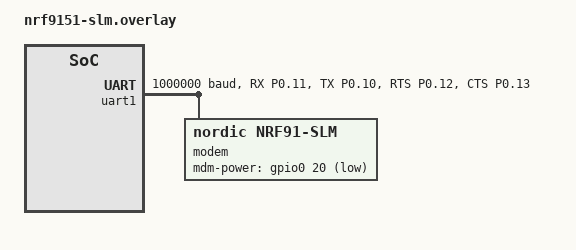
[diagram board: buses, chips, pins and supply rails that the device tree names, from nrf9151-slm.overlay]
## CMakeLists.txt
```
#
# Copyright (c) 2025 Nordic Semiconductor
#
# SPDX-License-Identifier: LicenseRef-Nordic-5-Clause
#

cmake_minimum_required(VERSION 3.20.0)

find_package(Zephyr REQUIRED HINTS $ENV{ZEPHYR_BASE})
project(dect_shell_mdm_mac)
# To get the app name to cloud
zephyr_compile_definitions(PROJECT_NAME=${PROJECT_NAME})

target_include_directories(app PRIVATE src)

target_sources(app PRIVATE src/main.c)
target_sources(app PRIVATE src/shell.c)

add_subdirectory(src/print)
add_subdirectory(src/utils)
add_subdirectory_ifdef(CONFIG_DESH_NATIVE_TLS src/native_tls)
add_subdirectory_ifdef(CONFIG_DESH_L2_SHELL src/l2_shell)
add_subdirectory_ifdef(CONFIG_DESH_DECT_ICMP_PING src/ping)
add_subdirectory(src/at)
add_subdirectory(src/cloud)
add_subdirectory_ifdef(CONFIG_NET_HOSTNAME_DYNAMIC src/hostname)
add_subdirectory(src/auto_connect)

if (CONFIG_NRF_CLOUD_MQTT OR CONFIG_NRF_CLOUD_REST)
        # Make folder containing certificates global so that it can be located by the configured
        # cloud library.
        zephyr_include_directories(src/nrf_cloud_certs_mqtt)
endif()
if (CONFIG_NRF_CLOUD_COAP)
        # Make folder containing certificates global so that it can be located by the configured
        # cloud library.
        zephyr_include_directories(src/nrf_cloud_certs_coap)
endif()
```

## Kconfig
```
#
# Copyright (c) 2025 Nordic Semiconductor ASA
#
# SPDX-License-Identifier: LicenseRef-Nordic-5-Clause
#

source "Kconfig.zephyr"

menu "Nordic Dect NR+ Phy Shell config"

config DESH_PRINT_BUFFER_SIZE
	int "Buffer size used when printing shell output"
	default 1024
	help
	  If the printed string exceeds this buffer, an error message is printed first and
	  then the requested string cut into the length of this buffer.

config DESH_COMMON_WORKQUEUE_STACK_SIZE
	int "Stack size for the common work queue"
	default 3072

config DESH_DECT_ICMP_PING
	bool "ICMP ping support"
	default y
	depends on NET_SOCKETS_INET_RAW
	help
	  Enable support for ICMP ping.

config DESH_IPERF3
	bool "iPerf3"
	default n
	select NRF_IPERF3

config DESH_CLOUD_MQTT
	bool "MQTT connection to nRF Cloud"
	depends on  NRF_CLOUD_MQTT
	help
	  MQTT connection to nRF Cloud.

config DESH_CLOUD_COAP
	bool "COAP connection to nRF Cloud"
	depends on  NRF_CLOUD_COAP
	help
	  COAP connection to nRF Cloud.

config DESH_CLOUD_REST
	bool "REST connection to nRF Cloud"
	depends on  NRF_CLOUD_REST
	help
	  REST connection to nRF Cloud. Note: ipv6 not supported by nrf cloud on REST

config DESH_AT_CMD_MODE
	bool "Specific AT command mode"
	default y

if DESH_AT_CMD_MODE
choice
	prompt "Command termination"
	default DESH_AT_CMD_MODE_CR_LF_TERMINATION
	help
		Sets the command termination ending from the serial terminal
		Levels are:
		-  NULL Termination
		-  CR Termination
		-  LF Termination
		-  CR+LF Termination
	config DESH_AT_CMD_MODE_NULL_TERMINATION
		bool "NULL Termination"
	config DESH_AT_CMD_MODE_CR_TERMINATION
		bool "CR Termination"
	config DESH_AT_CMD_MODE_LF_TERMINATION
		bool "LF Termination"
	config DESH_AT_CMD_MODE_CR_LF_TERMINATION
		bool "CR+LF Termination"
endchoice
config DESH_AT_CMD_MODE_TERMINATION
	int
	default 0 if DESH_AT_CMD_MODE_NULL_TERMINATION
	default 1 if DESH_AT_CMD_MODE_CR_TERMINATION
	default 2 if DESH_AT_CMD_MODE_LF_TERMINATION
	default 3 if DESH_AT_CMD_MODE_CR_LF_TERMINATION
endif

config DESH_L2_SHELL
	bool "DECT NR+ Shell for nRF91 Modem MAC"
	depends on NET_MGMT
	depends on NET_MGMT_EVENT
	depends on NET_MGMT_EVENT_INFO
	depends on NET_L2_DECT_MGMT
	depends on GETOPT_LIB
	depends on DECT_NRP_LIB
	default y
	help
	  Enable support for DECT NR+ Net Management interface.

# START OF INTERNAL CHANGE. DO NOT COMMIT TO NCS MASTER.
config DESH_FIDO_TRACE
	bool "Enable FIDO tracing"
	default y
# END OF INTERNAL CHANGE

rsource "src/native_tls/Kconfig"

endmenu
```

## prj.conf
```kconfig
# Modem library
CONFIG_NRF_MODEM_LIB=y
CONFIG_NRF_MODEM_LINK_BINARY_DECT_MAC=y
CONFIG_NRF_MODEM_VARIANT_DECT_MAC=y
CONFIG_NRF_MODEM_LIB_ON_FAULT_APPLICATION_SPECIFIC=y
CONFIG_NRF_MODEM_LIB_SHMEM_RX_SIZE=6144
CONFIG_NRF_MODEM_LIB_SHMEM_TX_SIZE=12288

# Force default trace level to default (coredump_only)
# CONFIG_NRF_MODEM_LIB_TRACE_LEVEL_COREDUMP_ONLY=y
CONFIG_NRF_MODEM_LIB_CFUN_HOOKS=n

# Fido as a default
CONFIG_NRF_MODEM_LIB_TRACE=n

# Disable fidoless default log level override
#CONFIG_NRF_MODEM_LIB_TRACE_LEVEL_OVERRIDE=n

#CONFIG_NRF_MODEM_LIB_SYS_INIT=n
#CONFIG_NRF_MODEM_LOG=y
#CONFIG_NRF_MODEM_LIB_LOG_LEVEL_DBG=y
#CONFIG_LOG_MODE_IMMEDIATE=y

CONFIG_NET_CONNECTION_MANAGER=y

# Conn mgr auto connect not supported, desh is having its own and
# we want that net_if_up() is done in stack to get cluster_start/nw_create also working
CONFIG_DECT_NRP_MAC_NET_IF_NO_AUTO_START=n

# DECT NR+
CONFIG_DECT_NRP_MAC=y
CONFIG_DECT_NRP_MAC_DRIVER_NRF=y

#CONFIG_DECT_NRP_MAC_NET_IF_NO_AUTO_START=y

# Disable auto antenna config
CONFIG_MODEM_ANTENNA=n

#To bypass error print from Modem Antenna Lib because dect mfw does not support this
CONFIG_MODEM_ANTENNA_AT_COEX0=""

# For getting modem fw version and hw version
CONFIG_MODEM_INFO=y
CONFIG_MODEM_INFO_ADD_NETWORK=n
CONFIG_MODEM_INFO_ADD_SIM=n

# Zephyr networking
CONFIG_NETWORKING=y
CONFIG_NET_NATIVE=y
CONFIG_NET_STATISTICS=y

CONFIG_NET_IPV4=n
CONFIG_NET_IPV6=y
# Disable IP address validation checks for performance
CONFIG_NET_IP_ADDR_CHECK=n

# Required for getting OFFLOADED_NETDEV for dect nrf91 driver
#CONFIG_NET_OFFLOAD=y

CONFIG_NET_MGMT=y
CONFIG_NET_MGMT_EVENT=y
CONFIG_NET_MGMT_EVENT_INFO=y
CONFIG_NET_MGMT_EVENT_INFO_DEFAULT_DATA_SIZE=208

CONFIG_NET_L2_DECT_MGMT=y
CONFIG_NET_L2_DUMMY=n
CONFIG_NET_CONTEXT_SNDTIMEO=y
CONFIG_NET_CONTEXT_RCVTIMEO=y

CONFIG_NET_INTERFACE_NAME=y
CONFIG_NET_INTERFACE_NAME_LEN=15

CONFIG_NET_MGMT_EVENT_STACK_SIZE=2048
CONFIG_NET_MGMT_EVENT_QUEUE_SIZE=10
CONFIG_NET_MGMT_EVENT_QUEUE_TIMEOUT=5000

CONFIG_NET_IF_MAX_IPV6_COUNT=2

CONFIG_NET_SOCKETS=y

#For sending raw packets
CONFIG_NET_SOCKETS_PACKET=y
CONFIG_NET_SOCKETS_PACKET_DGRAM=y
CONFIG_NET_SOCKETS_INET_RAW=y
CONFIG_NET_SOCKETS_OFFLOAD=n
CONFIG_NET_TX_STACK_SIZE=2048
CONFIG_NET_RX_STACK_SIZE=2048

# Network buffers
CONFIG_NET_BUF=y
CONFIG_NET_BUF_DATA_SIZE=128
CONFIG_NET_BUF_POOL_USAGE=y

CONFIG_NET_PKT_RX_COUNT=15
CONFIG_NET_BUF_RX_COUNT=30

CONFIG_NET_PKT_TX_COUNT=15
CONFIG_NET_BUF_TX_COUNT=30

CONFIG_NET_TC_RX_COUNT=0

CONFIG_NET_MGMT_EVENT_LOG_LEVEL_INF=y
CONFIG_NET_IPV6_NBR_CACHE=y
CONFIG_NET_IPV6_ND=y

CONFIG_DECT_NRP_MAC_CLUSTER_MAX_CHILD_ASSOCIATION_COUNT=50
CONFIG_NET_IPV6_MAX_NEIGHBORS=50

# Disable certain parts of Zephyr IPv6 stack (commented out - using defaults)
#CONFIG_NET_IPV6_ND=n
#CONFIG_NET_IPV6_DAD=n
#CONFIG_NET_IPV6_NBR_CACHE=n
#CONFIG_NET_IPV6_MLD=n
#CONFIG_NET_IPV6_FRAGMENT=n

CONFIG_DNS_RESOLVER=y
CONFIG_DNS_RESOLVER_AUTO_INIT=y
CONFIG_DNS_RESOLVER_CACHE=y
CONFIG_DNS_SERVER_IP_ADDRESSES=y
#CONFIG_DNS_RESOLVER_MAX_SERVERS=6

CONFIG_DNS_SERVER1="2001:4860:4860::8888"
CONFIG_NET_SOCKETS_DNS_TIMEOUT=8000
#CONFIG_DNS_NUM_CONCUR_QUERIES=5
#CONFIG_DNS_RESOLVER_ADDITIONAL_BUF_CTR=2
#CONFIG_DNS_RESOLVER_ADDITIONAL_QUERIES=2

# Enable mDNS support
CONFIG_MDNS_RESOLVER=y

# (M)DNS
CONFIG_NET_SOCKETS_POLL_MAX=10
CONFIG_MDNS_RESPONDER=y
CONFIG_DNS_SD=y # TODO: advertise services
CONFIG_MDNS_RESPONDER_DNS_SD=y
CONFIG_NET_HOSTNAME_ENABLE=y
# Hostname can be set by using command hostname
CONFIG_NET_HOSTNAME="dect-nr+-device"
CONFIG_NET_HOSTNAME_DYNAMIC=y
CONFIG_NET_HOSTNAME_UNIQUE=n

# Disable POSIX uname support to suppress build warning that hostname is too long.
#CONFIG_POSIX_UNAME=n

# Need bigger stack to send responses
CONFIG_NET_SOCKETS_SERVICE_STACK_SIZE=4096

CONFIG_SYSTEM_WORKQUEUE_STACK_SIZE=3072

#CONFIG_NET_ROUTE_MCAST=y
#CONFIG_NET_MCAST_ROUTE_MLD_REPORTS=y

# Disable MBEDTLS and IPv4 by default (TLS can be enabled via overlays if needed)
CONFIG_NET_IPV4=n
CONFIG_MBEDTLS=n
CONFIG_NORDIC_SECURITY_BACKEND=n
CONFIG_MBEDTLS_TLS_VERSION_1_2=n
CONFIG_NET_SOCKETS_SOCKOPT_TLS=n

# Shell configurations
CONFIG_SHELL=y

CONFIG_NET_SHELL=y
CONFIG_NET_STATISTICS_USER_API=y

CONFIG_SHELL_WILDCARD=n
CONFIG_SHELL_PROMPT_UART="desh:~$ "
CONFIG_SHELL_ARGC_MAX=40
# -h and --help options are handled in Dect Shell
CONFIG_SHELL_HELP_OPT_PARSE=n

# Command line buffer is set this large to enable writing of certificates by using at commands
CONFIG_SHELL_CMD_BUFF_SIZE=4096

CONFIG_MAIN_STACK_SIZE=4096
CONFIG_SHELL_STACK_SIZE=9216

# Shell RX buffer needs to be increased to avoid problems with test automation
CONFIG_SHELL_BACKEND_SERIAL_RX_RING_BUFFER_SIZE=512
# Use interrupt driven shell UART, otherwise we won't be able to suspend the UART
CONFIG_SHELL_BACKEND_SERIAL_API_INTERRUPT_DRIVEN=y

# Enable use of vsnprintfcb() for extending desh_print() format
CONFIG_CBPRINTF_LIBC_SUBSTS=y

# we keep newlib still for dev time because no mallinfo() support in zephyr
# see mosh commit: https://github.com/nrfconnect/sdk-nrf/commit/b3e117f2260be747938b8578ac525ff0f9d44884
CONFIG_MINIMAL_LIBC=n
CONFIG_NEWLIB_LIBC=y
CONFIG_NEWLIB_LIBC_FLOAT_SCANF=y
CONFIG_NEWLIB_LIBC_FLOAT_PRINTF=y
CONFIG_FPU=y
#CONFIG_CJSON_LIB=y

# freebsd-getopt
CONFIG_GETOPT_LIB=y
CONFIG_POSIX_API=y
# Need to disable devmem shell since it enforces Zephyr's internal version of getopt
CONFIG_DEVMEM_SHELL=n

CONFIG_DK_LIBRARY=y

CONFIG_AT_MONITOR=y
CONFIG_AT_PARSER=y

CONFIG_ISR_STACK_SIZE=1024
CONFIG_HEAP_MEM_POOL_SIZE=25600
CONFIG_AT_MONITOR_HEAP_SIZE=512

# Settings
CONFIG_FLASH=y
CONFIG_FLASH_MAP=y
CONFIG_MPU_ALLOW_FLASH_WRITE=y
CONFIG_NVS=y
CONFIG_SETTINGS=y
CONFIG_SETTINGS_NVS=y
CONFIG_NVS_LOG_LEVEL_WRN=y

# Kernel options
CONFIG_ENTROPY_GENERATOR=y
#CONFIG_REBOOT=y

# Debugging configurations
CONFIG_ASSERT=y
CONFIG_LOG=y

# Keep printk() synchronous
CONFIG_PRINTK=y
CONFIG_LOG_PRINTK=n

CONFIG_DEBUG_INFO=y
#CONFIG_DEBUG_OPTIMIZATIONS=y
#CONFIG_NO_OPTIMIZATIONS=y
#CONFIG_FORCE_NO_ASSERT=y
CONFIG_ASSERT_VERBOSE=y
#CONFIG_ASSERT_LEVEL=2
#CONFIG_ASSERT_ON_ERRORS=y
#CONFIG_FAULT_DUMP=2
CONFIG_RESET_ON_FATAL_ERROR=n
CONFIG_EXTRA_EXCEPTION_INFO=y
#CONFIG_WATCHDOG=y
CONFIG_SYS_HEAP_RUNTIME_STATS=y

# Enable TF-M logging on UART0
CONFIG_TFM_SECURE_UART0=y
CONFIG_TFM_LOG_LEVEL_SILENCE=n
CONFIG_TFM_EXCEPTION_INFO_DUMP=y
CONFIG_TFM_SPM_LOG_LEVEL_DEBUG=y

CONFIG_NET_LOG=y
#CONFIG_DNS_SOCKET_DISPATCHER_LOG_LEVEL_DBG=y
#CONFIG_DNS_RESOLVER_LOG_LEVEL_DBG=y
#CONFIG_NET_LOG=y
#CONFIG_MDNS_RESPONDER_LOG_LEVEL_DBG=y
#CONFIG_DNS_SOCKET_DISPATCHER_LOG_LEVEL_DBG=y
#CONFIG_NET_PKT_LOG_LEVEL_DBG=y
CONFIG_DECT_NRP_MAC_LOG_LEVEL_WRN=y
CONFIG_NET_L2_DECT_LOG_LEVEL_WRN=y
CONFIG_NET_L2_DECT_MGMT_LOG_LEVEL_WRN=y
CONFIG_NET_L2_DECT_BR_LOG_LEVEL_INF=y
CONFIG_NET_L2_DECT_CONN_MGR_LOG_LEVEL_INF=y
#CONFIG_NRF_MODEM_LOG=y
#CONFIG_NRF_MODEM_LIB_LOG_LEVEL_DBG=y
#CONFIG_LOG_MODE_IMMEDIATE=y
#CONFIG_NET_CORE_LOG_LEVEL_DBG=y
#CONFIG_NET_CONTEXT_LOG_LEVEL_DBG=y
#CONFIG_NET_IF_LOG_LEVEL_DBG=y
#CONFIG_NET_IPV6_ND_LOG_LEVEL_DBG=y
#CONFIG_NET_CONN_LOG_LEVEL_DBG=y
#CONFIG_NET_IPV6_LOG_LEVEL_DBG=y
#CONFIG_NET_ICMPV6_LOG_LEVEL_DBG=y
#CONFIG_NET_BUF_POOL_USAGE=y
#CONFIG_NET_DEBUG_NET_PKT_ALLOC=y
#CONFIG_NET_IPV6_ND_LOG_LEVEL_DBG=y
#CONFIG_NET_IPV6_NBR_CACHE_LOG_LEVEL_DBG=y
```

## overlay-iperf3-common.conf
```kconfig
#1st, disable all unneeded
CONFIG_MDNS_RESOLVER=n
CONFIG_MDNS_RESPONDER=n
CONFIG_MDNS_RESPONDER_DNS_SD=n
#CONFIG_DNS_SD=n #TODO: addvertise services
#CONFIG_MDNS_RESPONDER_DNS_SD=n
CONFIG_NET_SOCKETS_SERVICE_STACK_SIZE=1024

#We are not using kernel heap with iperf3
CONFIG_HEAP_MEM_POOL_SIZE=1024

#not writing certs with this image
CONFIG_SHELL_CMD_BUFF_SIZE=512
CONFIG_DESH_NATIVE_TLS=n
CONFIG_DESH_AT_CMD_MODE=n

#Not testing with many children
CONFIG_DECT_NRP_MAC_CLUSTER_MAX_CHILD_ASSOCIATION_COUNT=5
CONFIG_NET_IPV6_MAX_NEIGHBORS=5

CONFIG_DECT_NRP_MAC_NRF_TX_FLOW_CTRL_BASED_ON_MDM_TX_DLC_REQS=y
# We need to enable ipv4 for iperf3 server
CONFIG_NET_IPV4=y

# Disable IP address validation checks for performance
CONFIG_NET_IP_ADDR_CHECK=n

#########
CONFIG_POSIX_API=y
CONFIG_ZVFS_OPEN_MAX=15
# Need to be the same as MAX_FDS
CONFIG_NET_SOCKETS_POLL_MAX=15
CONFIG_NET_MAX_CONTEXTS=15

CONFIG_NEWLIB_LIBC=y
CONFIG_CJSON_LIB=y
CONFIG_MINIMAL_LIBC=n
CONFIG_NEWLIB_LIBC_FLOAT_SCANF=y
CONFIG_NEWLIB_LIBC_FLOAT_PRINTF=y
CONFIG_FPU=y

CONFIG_DESH_IPERF3=y
CONFIG_NRF_IPERF3_RESULTS_WAIT_TIME=180
CONFIG_NRF_IPERF3_NONBLOCKING_CLIENT_CHANGES=n
CONFIG_NRF_IPERF3_HOST_NAME="nrf9151-dect-nr+-common config"

CONFIG_NET_IPV6=y

CONFIG_NET_TCP=y
CONFIG_NET_TCP_WORKQ_STACK_SIZE=2048
CONFIG_NET_TCP_INIT_RETRANSMISSION_TIMEOUT=6000
CONFIG_NET_TCP_RETRY_COUNT=6

#Following selects MBEDTLS_MAC_MD5_ENABLED that needs bunch of other features
CONFIG_NET_TCP_ISN_RFC6528=n

# Network buffers
CONFIG_NET_BUF=y
CONFIG_NET_BUF_DATA_SIZE=128
CONFIG_NET_BUF_POOL_USAGE=y

CONFIG_NET_TC_RX_COUNT=0

# Network driver config
#CONFIG_NET_DRIVERS=y

#CONFIG_NET_LOG=y
#CONFIG_NET_TCP_LOG_LEVEL_DBG=y
#CONFIG_NET_PKT_LOG_LEVEL_DBG=y

#CONFIG_NET_SOCKETS_LOG_LEVEL_DBG=y
#CONFIG_NET_CONTEXT_LOG_LEVEL_DBG=y

#CONFIG_LOG_MODE_IMMEDIATE=y
```

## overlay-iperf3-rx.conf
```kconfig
CONFIG_NRF_IPERF3_HOST_NAME="nrf9151-dect-nr+-RX-config"

CONFIG_NRF_MODEM_LIB_SHMEM_RX_SIZE=32768
CONFIG_NRF_MODEM_LIB_SHMEM_TX_SIZE=6144

CONFIG_NET_PKT_RX_COUNT=175
CONFIG_NET_BUF_RX_COUNT=350

CONFIG_NET_PKT_TX_COUNT=30
CONFIG_NET_BUF_TX_COUNT=60

CONFIG_NET_TCP_RECV_QUEUE_TIMEOUT=10000
# 1280 MTU
#CONFIG_NET_BUF_DATA_SIZE=1280

# Use variable data size to reduce memory usage for small data packets?
#CONFIG_NET_BUF_VARIABLE_DATA_SIZE=y

#CONFIG_NET_PKT_TX_COUNT=10
#CONFIG_NET_BUF_TX_COUNT=10

#CONFIG_NET_PKT_RX_COUNT=40
#CONFIG_NET_BUF_RX_COUNT=40
```

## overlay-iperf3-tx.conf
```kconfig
CONFIG_NRF_IPERF3_HOST_NAME="nrf9151-dect-nr+-TX-config"

CONFIG_NRF_MODEM_LIB_SHMEM_RX_SIZE=6144
CONFIG_NRF_MODEM_LIB_SHMEM_TX_SIZE=32768

#CONFIG_NET_PKT_RX_COUNT=30
#CONFIG_NET_BUF_RX_COUNT=60

#CONFIG_NET_PKT_TX_COUNT=150
#CONFIG_NET_BUF_TX_COUNT=300

# 1280 MTU
CONFIG_NET_BUF_DATA_SIZE=1280
CONFIG_NET_PKT_RX_COUNT=11
CONFIG_NET_BUF_RX_COUNT=11

CONFIG_NET_PKT_TX_COUNT=43
CONFIG_NET_BUF_TX_COUNT=43
```

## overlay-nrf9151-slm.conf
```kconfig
CONFIG_UART_ASYNC_API=y
CONFIG_UART_1_ASYNC=y
CONFIG_UART_1_INTERRUPT_DRIVEN=n

# Align with the Serial LTE Modem (SLM) application.
CONFIG_MODEM_CMUX_MTU=127
CONFIG_MODEM_CMUX_WORK_BUFFER_SIZE=536
CONFIG_MODEM_CELLULAR_UART_BUFFER_SIZES=6000

# Prevent sockets getting offloaded to the modem.
CONFIG_NET_SOCKETS_OFFLOAD=n

# Print logs and printk() output on uart0.
CONFIG_LOG_BACKEND_UART=y

# Disable AT shell as SLM application has no AT mode user pipes
CONFIG_MODEM_AT_SHELL=n

CONFIG_POSIX_API=y

# Networking
CONFIG_NETWORKING=y
CONFIG_NET_NATIVE=y
CONFIG_NET_L2_PPP=y
#CONFIG_NET_IPV4=y
CONFIG_NET_UDP=y
CONFIG_NET_SOCKETS=y
CONFIG_NET_CONTEXT_RCVTIMEO=y

CONFIG_NET_SHELL=y
CONFIG_NET_STATISTICS_USER_API=y

# DNS
CONFIG_DNS_RESOLVER=y
CONFIG_NET_L2_PPP_OPTION_DNS_USE=y

# Network management
CONFIG_NET_MGMT=y
CONFIG_NET_MGMT_EVENT=y
CONFIG_NET_CONNECTION_MANAGER=y

# Modem driver
CONFIG_MODEM=y
CONFIG_PM_DEVICE=y
CONFIG_MODEM_CELLULAR=y
CONFIG_MODEM_CELLULAR_PERIODIC_SCRIPT_MS=20000

# Statistics
CONFIG_MODEM_STATS=y
CONFIG_SHELL=y

# Testing
CONFIG_PM_DEVICE_SHELL=y
#CONFIG_SHELL_WILDCARD=n

# Logging
CONFIG_LOG=y
CONFIG_MODEM_MODULES_LOG_LEVEL_INF=y
CONFIG_MODEM_LOG_LEVEL_INF=y

# For extra verbosity
#CONFIG_MODEM_CMUX_LOG_LEVEL_DBG=y
#CONFIG_LOG_BUFFER_SIZE=65536
```

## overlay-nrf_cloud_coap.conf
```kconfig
CONFIG_DESH_CLOUD_COAP=y
CONFIG_DESH_NATIVE_TLS=y
CONFIG_DESH_NATIVE_TLS_CREDENTIAL_BUFFER_SIZE=4096
CONFIG_SETTINGS_SHELL=y

# Stacks
CONFIG_SYSTEM_WORKQUEUE_STACK_SIZE=4096

# For shadow information
CONFIG_MODEM_INFO=y
CONFIG_MODEM_INFO_ADD_NETWORK=n
CONFIG_MODEM_INFO_ADD_DEVICE=y
CONFIG_MODEM_INFO_ADD_DATE_TIME=n
CONFIG_MODEM_INFO_ADD_SIM=n
CONFIG_MODEM_INFO_ADD_SIM_ICCID=n
CONFIG_MODEM_INFO_ADD_SIM_IMSI=n

## Disable Modem/LTE/nrf91-specific features
#CONFIG_NRF_MODEM_LIB=n

CONFIG_AT_HOST_LIBRARY=n
CONFIG_LTE_LINK_CONTROL=n
CONFIG_LTE_PSM_REQ=n

# nRF Cloud
CONFIG_NRF_CLOUD=y
CONFIG_NRF_CLOUD_MQTT=n
CONFIG_NRF_CLOUD_COAP=y
CONFIG_NRF_CLOUD_COAP_DOWNLOADS=n
CONFIG_NRF_CLOUD_SEND_DEVICE_STATUS=y
CONFIG_NRF_CLOUD_SEND_DEVICE_STATUS_CONN_INF=y
CONFIG_NRF_CLOUD_DEVICE_STATUS_ENCODE_VOLTAGE=y

CONFIG_NRF_CLOUD_SEND_SERVICE_INFO_FOTA=n

#Not using JWT from modem
CONFIG_NRF_CLOUD_JWT_SOURCE_CUSTOM=y

CONFIG_NRF_CLOUD_ALERT=y
CONFIG_NRF_CLOUD_LOCATION=n

# We need to set time, we are using only NTP
CONFIG_DATE_TIME=y
CONFIG_DATE_TIME_NTP=y
CONFIG_DATE_TIME_THREAD_STACK_SIZE=3072

#CONFIG_DATE_TIME_LOG_LEVEL_DBG=y
CONFIG_DATE_TIME_MODEM=n
## Disable LTE-event-driven date_time updates (the date_time library will still periodically
## refresh its timestamp, this setting only controls whether LTE-event-driven date_time updates
## are enabled)
CONFIG_DATE_TIME_AUTO_UPDATE=n

## Enable date_time retries for dect nr+
## This prevents occasional DNS lookup flukes from
## rendering the device unable to connect until the next
## CONFIG_DATE_TIME_UPDATE_INTERVAL_SECONDS elapses (default 4 hours)
CONFIG_DATE_TIME_RETRY_COUNT=5
# Use a really short retry interval for demo purposes
# 60 seconds to 15 minutes is probably more appropriate for
# real-world applications
CONFIG_DATE_TIME_RETRY_INTERVAL_SECONDS=20

# 2 options for cert, stored by %CMNG in zephyr side or in a code

# 2 options for client id: compile time IMEI OR runtime dev UUID
## To use compile-time client ID for nRF Cloud
#CONFIG_NRF_CLOUD_CLIENT_ID_SRC_COMPILE_TIME=y
# User must set their compile time client ID
#CONFIG_NRF_CLOUD_CLIENT_ID="50345053-3639-4cf9-80fd-240a783bb3fb"

## default: To use device id from modem
CONFIG_NRF_CLOUD_CLIENT_ID_SRC_INTERNAL_UUID=y
CONFIG_MODEM_JWT=y

#Enable following two if you are using certs from header file (instead of using custom cmng command)
CONFIG_NRF_CLOUD_PROVISION_CERTIFICATES=n
CONFIG_NRF_CLOUD_CREDENTIALS_MGMT_TLS_CRED=n
#CONFIG_NRF_CLOUD_MQTT_MESSAGE_BUFFER_LEN=6144
#CONFIG_NRF_CLOUD_MQTT_PAYLOAD_BUFFER_LEN=6144

## Disable cloud features reliant on or specific to nrf91 modem features
CONFIG_NRF_CLOUD_WIFI_LOCATION_ENCODE_OPT_MAC_RSSI=n
CONFIG_NRF_CLOUD_AGNSS=n
CONFIG_NRF_CLOUD_PGPS=n
CONFIG_NRF_CLOUD_PGPS_REQUEST_UPON_INIT=n
CONFIG_LOCATION_METHOD_GNSS=n
CONFIG_LOCATION_METHOD_CELLULAR=n



## Disable FOTA to conserve memory
CONFIG_NRF_CLOUD_FOTA=n
CONFIG_BOOTLOADER_MCUBOOT=n
CONFIG_IMG_MANAGER=n
CONFIG_MCUBOOT_IMG_MANAGER=n


# Zephyr networking stack
CONFIG_NET_NATIVE=y
CONFIG_NET_SOCKETS_SOCKOPT_TLS=y
CONFIG_NET_SOCKETS_TLS_MAX_CONTEXTS=1
CONFIG_NET_CONTEXT_SNDTIMEO=y

CONFIG_NET_TCP=n
CONFIG_NET_IPV4=n

CONFIG_NET_SOCKETS_CONNECT_TIMEOUT=60000

#CONFIG_NRF_CLOUD_SEC_TAG=1

# Enable legacy crypto support
CONFIG_NRF_SECURITY=y
CONFIG_NORDIC_SECURITY_BACKEND=y

## Configure native MBEDTLS to support nRF Cloud MQTT
CONFIG_MQTT_LIB_TLS=n
#CONFIG_MQTT_KEEPALIVE=120
#CONFIG_MQTT_LIB_TLS_USE_ALPN=y

CONFIG_MBEDTLS=y
CONFIG_MBEDTLS_ENABLE_HEAP=y
CONFIG_MBEDTLS_HEAP_SIZE=20480
CONFIG_MBEDTLS_SSL_SERVER_NAME_INDICATION=y
CONFIG_MBEDTLS_SSL_KEEP_PEER_CERTIFICATE=n

CONFIG_MBEDTLS_TLS_LIBRARY=y
CONFIG_MBEDTLS_TLS_VERSION_1_2=y
CONFIG_MBEDTLS_X509_LIBRARY=y
CONFIG_MBEDTLS_RSA_C=y
CONFIG_MBEDTLS_DTLS=y
CONFIG_MBEDTLS_SSL_SRV_C=y
CONFIG_MBEDTLS_SSL_COOKIE_C=y
CONFIG_MBEDTLS_SSL_DTLS_HELLO_VERIFY=y
CONFIG_MBEDTLS_SSL_DTLS_CONNECTION_ID=y
CONFIG_NET_SOCKETS_ENABLE_DTLS=y
CONFIG_MBEDTLS_SSL_IN_CONTENT_LEN=2048
CONFIG_MBEDTLS_SSL_OUT_CONTENT_LEN=2048

# Enable AES
#CONFIG_MBEDTLS_AES_C=y
#CONFIG_MBEDTLS_CCM_C=y
CONFIG_MBEDTLS_GCM_C=y
#CONFIG_MBEDTLS_CIPHER_MODE_CBC=y

# Enable ECC
CONFIG_MBEDTLS_ECP_C=y
CONFIG_PSA_WANT_ECC_SECP_R1_256=y

## Disable unneeded MBEDTLS features to save flash and RAM
CONFIG_MBEDTLS_CHACHA20_C=n
CONFIG_MBEDTLS_CHACHAPOLY_C=n
CONFIG_MBEDTLS_POLY1305_C=n
CONFIG_MBEDTLS_SHA1_C=n
CONFIG_MBEDTLS_MAC_SHA256_ENABLED=n
CONFIG_MBEDTLS_CIPHER_MODE_CBC=n

CONFIG_MBEDTLS_CTR_DRBG_C=n
CONFIG_MBEDTLS_DHM_C=n
CONFIG_MBEDTLS_CMAC_C=n
CONFIG_MBEDTLS_CIPHER_MODE_CTR=n
CONFIG_MBEDTLS_KEY_EXCHANGE_DHE_PSK_ENABLED=n
CONFIG_MBEDTLS_KEY_EXCHANGE_DHE_RSA_ENABLED=n

# POSIX API memory optimizations
CONFIG_POSIX_FD_MGMT=n
CONFIG_POSIX_MESSAGE_PASSING=n
CONFIG_POSIX_THREAD_THREADS_MAX=0

# Debug
#CONFIG_NRF_CLOUD_LOG_LEVEL_DBG=y
#CONFIG_NRF_PROVISIONING_LOG_LEVEL_DBG=y
#CONFIG_COAP_LOG_LEVEL_DBG=y
#CONFIG_NRF_CLOUD_LOG_LEVEL_DBG=y
#CONFIG_MQTT_LOG_LEVEL_DBG=y

#CONFIG_MBEDTLS_DEBUG=y
#CONFIG_MBEDTLS_SSL_CLI_C=y
#CONFIG_MBEDTLS_DEBUG_C=y

#CONFIG_MBEDTLS_SSL_DEBUG_ALL=y

#CONFIG_MBEDTLS_LOG_LEVEL_DBG=y
#CONFIG_MBEDTLS_SSL_DEBUG_ALL=y
#CONFIG_NET_LOG=y
#CONFIG_NET_TCP_LOG_LEVEL_INF=y


# Modem
#CONFIG_MODEM_KEY_MGMT=n
#CONFIG_MODEM_JWT=n


# Network
CONFIG_POSIX_API=y
CONFIG_NET_SOCKETS_TLS_SET_MAX_FRAGMENT_LENGTH=y
CONFIG_NET_SOCKETS_OFFLOAD_PRIORITY=40

# CoAP Client
CONFIG_COAP_CLIENT_BLOCK_SIZE=1024
CONFIG_COAP_CLIENT_STACK_SIZE=6144
CONFIG_COAP_CLIENT_THREAD_PRIORITY=0
CONFIG_COAP_EXTENDED_OPTIONS_LEN_VALUE=40
```

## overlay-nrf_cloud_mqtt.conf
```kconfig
CONFIG_DESH_CLOUD_MQTT=y
CONFIG_DESH_NATIVE_TLS=y
CONFIG_DESH_NATIVE_TLS_CREDENTIAL_BUFFER_SIZE=4096
CONFIG_DESH_COMMON_WORKQUEUE_STACK_SIZE=6144
CONFIG_SETTINGS_SHELL=y

# Squeeze memory usage to fit into RAM
CONFIG_NRF_MODEM_LIB_SHMEM_RX_SIZE=5120
CONFIG_NRF_MODEM_LIB_SHMEM_TX_SIZE=5120
#CONFIG_NET_TX_STACK_SIZE=512
#CONFIG_NET_RX_STACK_SIZE=512

# Disable some features to fit into RAM
CONFIG_DECT_NRP_MAC_CLUSTER_MAX_CHILD_ASSOCIATION_COUNT=10
CONFIG_NET_IPV6_MAX_NEIGHBORS=10

# Stacks
#CONFIG_SYSTEM_WORKQUEUE_STACK_SIZE=4096

# nRF Cloud
CONFIG_NRF_CLOUD=y
CONFIG_NRF_CLOUD_MQTT=y
CONFIG_NRF_CLOUD_CONNECTION_POLL_THREAD=y
CONFIG_NRF_CLOUD_CONNECTION_POLL_THREAD_STACK_SIZE=4096
CONFIG_NRF_CLOUD_SEND_TIMEOUT=y
CONFIG_NRF_CLOUD_SEND_TIMEOUT_SEC=60
CONFIG_NRF_CLOUD_SEND_DEVICE_STATUS=y

# 2 options for cert, stored by %CMNG in zephyr side or in a code

# 2 options for client id: compile time IMEI OR runtime dev UUID
## To use compile-time client ID for nRF Cloud
#CONFIG_NRF_CLOUD_CLIENT_ID_SRC_COMPILE_TIME=y
#CONFIG_NRF_CLOUD_CLIENT_ID="nrf-dect-359404232205535"

## default: To use device id from modem
CONFIG_NRF_CLOUD_CLIENT_ID_SRC_INTERNAL_UUID=y
CONFIG_MODEM_JWT=y

#Enable following two if you are using certs from header file (instead of using custom cmng command)
CONFIG_NRF_CLOUD_PROVISION_CERTIFICATES=n
CONFIG_NRF_CLOUD_CREDENTIALS_MGMT_TLS_CRED=n

#CONFIG_NRF_PROVISIONING=y
#CONFIG_NRF_PROVISIONING_SHELL=y

#CONFIG_NRF_CLOUD_MQTT_MESSAGE_BUFFER_LEN=6144
#CONFIG_NRF_CLOUD_MQTT_PAYLOAD_BUFFER_LEN=6144

## Disable cloud features reliant on or specific to nrf91 modem features
CONFIG_NRF_CLOUD_WIFI_LOCATION_ENCODE_OPT_MAC_RSSI=n
CONFIG_NRF_CLOUD_AGNSS=n
CONFIG_NRF_CLOUD_PGPS=n
CONFIG_NRF_CLOUD_PGPS_REQUEST_UPON_INIT=n
CONFIG_LOCATION_METHOD_GNSS=n
CONFIG_LOCATION_METHOD_CELLULAR=n
CONFIG_MODEM_INFO_ADD_NETWORK=n
CONFIG_MODEM_INFO_ADD_DATE_TIME=n

CONFIG_MODEM_INFO_ADD_DEVICE=y

## Disable FOTA to conserve memory
CONFIG_NRF_CLOUD_FOTA=n
CONFIG_BOOTLOADER_MCUBOOT=n
CONFIG_IMG_MANAGER=n
CONFIG_MCUBOOT_IMG_MANAGER=n

# Zephyr networking stack
CONFIG_NET_NATIVE=y
CONFIG_NET_SOCKETS_SOCKOPT_TLS=y
CONFIG_NET_SOCKETS_TLS_MAX_CONTEXTS=2
CONFIG_NET_CONTEXT_SNDTIMEO=y

CONFIG_NET_TCP=y
CONFIG_NET_TCP_WORKQ_STACK_SIZE=2048
CONFIG_NET_TCP_INIT_RETRANSMISSION_TIMEOUT=6000
#CONFIG_NET_TCP_RECV_QUEUE_TIMEOUT=10000
CONFIG_NET_SOCKETS_CONNECT_TIMEOUT=60000

#CONFIG_NRF_CLOUD_SEC_TAG=1
CONFIG_MQTT_CLEAN_SESSION=y

# Enable legacy crypto support
CONFIG_NRF_SECURITY=y
CONFIG_NORDIC_SECURITY_BACKEND=y

## Configure native MBEDTLS to support nRF Cloud MQTT
CONFIG_MQTT_LIB_TLS=y
#CONFIG_MQTT_KEEPALIVE=120
#CONFIG_MQTT_LIB_TLS_USE_ALPN=y

CONFIG_MBEDTLS=y
CONFIG_MBEDTLS_ENABLE_HEAP=y
CONFIG_MBEDTLS_HEAP_SIZE=34000
CONFIG_MBEDTLS_SSL_SERVER_NAME_INDICATION=y
CONFIG_MBEDTLS_SSL_KEEP_PEER_CERTIFICATE=n

CONFIG_MBEDTLS_TLS_LIBRARY=y
CONFIG_MBEDTLS_TLS_VERSION_1_2=y
CONFIG_MBEDTLS_X509_LIBRARY=y
CONFIG_MBEDTLS_RSA_C=y
CONFIG_MBEDTLS_SSL_IN_CONTENT_LEN=4096
CONFIG_MBEDTLS_SSL_OUT_CONTENT_LEN=4096

# Enable AES
CONFIG_MBEDTLS_AES_C=y
CONFIG_MBEDTLS_CCM_C=y
CONFIG_MBEDTLS_GCM_C=y
CONFIG_MBEDTLS_CIPHER_MODE_CBC=y

# Enable ECC
CONFIG_MBEDTLS_ECP_C=y
CONFIG_PSA_WANT_ECC_SECP_R1_256=y

## Disable unneeded MBEDTLS features to save flash and RAM
CONFIG_MBEDTLS_CHACHA20_C=n
CONFIG_MBEDTLS_POLY1305_C=n
CONFIG_MBEDTLS_SHA1_C=n
CONFIG_MBEDTLS_MAC_SHA256_ENABLED=n
CONFIG_MBEDTLS_CIPHER_MODE_CBC=n
CONFIG_MBEDTLS_SSL_SRV_C=n

CONFIG_MBEDTLS_CTR_DRBG_C=n
CONFIG_MBEDTLS_DHM_C=n
CONFIG_MBEDTLS_CMAC_C=n
CONFIG_MBEDTLS_CIPHER_MODE_CTR=n
CONFIG_MBEDTLS_KEY_EXCHANGE_DHE_PSK_ENABLED=n
CONFIG_MBEDTLS_KEY_EXCHANGE_DHE_RSA_ENABLED=n

# POSIX API memory optimizations
CONFIG_POSIX_FD_MGMT=n
CONFIG_POSIX_MESSAGE_PASSING=n
CONFIG_POSIX_THREAD_THREADS_MAX=0

# Debug
#CONFIG_NRF_CLOUD_LOG_LEVEL_INF=y
#CONFIG_NRF_CLOUD_LOG_LEVEL_DBG=y
#CONFIG_MQTT_LOG_LEVEL_DBG=y

#CONFIG_MBEDTLS_DEBUG=y
#CONFIG_MBEDTLS_SSL_CLI_C=y
#CONFIG_MBEDTLS_DEBUG_C=y

#CONFIG_MBEDTLS_SSL_DEBUG_ALL=y

#CONFIG_MBEDTLS_LOG_LEVEL_DBG=y
#CONFIG_MBEDTLS_SSL_DEBUG_ALL=y
#CONFIG_NET_LOG=y
#CONFIG_NET_TCP_LOG_LEVEL_INF=y
```

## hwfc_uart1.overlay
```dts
&uart1 {
	hw-flow-control;
};
```

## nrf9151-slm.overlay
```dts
/ {
	aliases {
		modem = &modem;
	};
};

&uart1 {
	compatible = "nordic,nrf-uarte";
	current-speed = <1000000>;
	hw-flow-control;
	status = "okay";

	pinctrl-0 = <&uart1_default_alt>;

	modem: modem {
		compatible = "nordic,nrf91-slm";
		status = "okay";
		mdm-power-gpios = <&gpio0 20 GPIO_ACTIVE_LOW>;
	};
};

&pinctrl {
	uart1_default_alt: uart1_default_alt {
		group1 {
			psels = <NRF_PSEL(UART_RX, 0, 11)>;
			bias-pull-up;
		};
		group2 {
			psels = <NRF_PSEL(UART_TX, 0, 10)>,
				<NRF_PSEL(UART_RTS, 0, 12)>,
				<NRF_PSEL(UART_CTS, 0, 13)>;
		};
	};
};

/* Just for sure to disable as these are in 30/31 pins where pwr pin is */
arduino_i2c: &i2c2 {
	status = "disabled";
};
```

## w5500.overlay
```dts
/* Copyright (c) 2022 Linumiz
 * SPDX-License-Identifier: Apache-2.0
 */

&arduino_spi {
	eth_w5500_arceli_eth_w5500: eth_w5500@0 {
		zephyr,random-mac-address;
	};
};
```

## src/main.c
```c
/*
 * Copyright (c) 2025 Nordic Semiconductor ASA
 *
 * SPDX-License-Identifier: LicenseRef-Nordic-5-Clause
 */

#include <stdio.h>
#include <string.h>

#include <zephyr/kernel.h>
#include <zephyr/init.h>
#include <helpers/nrfx_reset_reason.h>
#include <nrf_modem.h>

#include <sys/types.h>
#include <zephyr/logging/log_ctrl.h>
#include <zephyr/sys/reboot.h>
#include <zephyr/dfu/mcuboot.h>

#include <zephyr/shell/shell.h>
#include <zephyr/shell/shell_uart.h>

#include <modem/nrf_modem_lib.h>
#include <modem/nrf_modem_lib_trace.h>

#include <dk_buttons_and_leds.h>

#if defined(CONFIG_DESH_AT_CMD_MODE)
#include "at_cmd_mode.h"
#include "at_cmd_mode_sett.h"
#endif

#include "desh_defines.h"
#include "desh_print.h"

BUILD_ASSERT(IS_ENABLED(CONFIG_SHELL_BACKEND_SERIAL),
	     "CONFIG_SHELL_BACKEND_SERIAL shell backend must be enabled");

/* Global variables */
const struct shell *desh_shell;
struct k_poll_signal desh_signal;

char desh_at_resp_buf[DESH_AT_CMD_RESPONSE_MAX_LEN];
K_MUTEX_DEFINE(desh_at_resp_buf_mutex);

#define DESH_COMMON_WORKQUEUE_STACK_SIZE CONFIG_DESH_COMMON_WORKQUEUE_STACK_SIZE
#define DESH_COMMON_WORKQ_PRIORITY	 5
K_THREAD_STACK_DEFINE(desh_common_workq_stack, DESH_COMMON_WORKQUEUE_STACK_SIZE);
struct k_work_q desh_common_work_q;

static const char *modem_crash_reason_get(uint32_t reason)
{
	switch (reason) {
	case NRF_MODEM_FAULT_UNDEFINED:
		return "Undefined fault";

	case NRF_MODEM_FAULT_HW_WD_RESET:
		return "HW WD reset";

	case NRF_MODEM_FAULT_HARDFAULT:
		return "Hard fault";

	case NRF_MODEM_FAULT_MEM_MANAGE:
		return "Memory management fault";

	case NRF_MODEM_FAULT_BUS:
		return "Bus fault";

	case NRF_MODEM_FAULT_USAGE:
		return "Usage fault";

	case NRF_MODEM_FAULT_SECURE_RESET:
		return "Secure control reset";

	case NRF_MODEM_FAULT_PANIC_DOUBLE:
		return "Error handler crash";

	case NRF_MODEM_FAULT_PANIC_RESET_LOOP:
		return "Reset loop";

	case NRF_MODEM_FAULT_ASSERT:
		return "Assert";

	case NRF_MODEM_FAULT_PANIC:
		return "Unconditional SW reset";

	case NRF_MODEM_FAULT_FLASH_ERASE:
		return "Flash erase fault";

	case NRF_MODEM_FAULT_FLASH_WRITE:
		return "Flash write fault";

	case NRF_MODEM_FAULT_POFWARN:
		return "Undervoltage fault";

	case NRF_MODEM_FAULT_THWARN:
		return "Overtemperature fault";

	default:
		return "Unknown reason";
	}
}

void nrf_modem_fault_handler(struct nrf_modem_fault_info *fault_info)
{
	printk("Modem crash reason: 0x%x (%s), PC: 0x%x\n", fault_info->reason,
	       modem_crash_reason_get(fault_info->reason), fault_info->program_counter);

	__ASSERT(false, "Modem crash detected, halting application execution");
}

static void reset_reason_str_get(char *str, uint32_t reason)
{
	size_t len;

	*str = '\0';

	if (reason & NRFX_RESET_REASON_RESETPIN_MASK) {
		(void)strcat(str, "PIN reset | ");
	}
	if (reason & NRFX_RESET_REASON_DOG_MASK) {
		(void)strcat(str, "watchdog | ");
	}
	if (reason & NRFX_RESET_REASON_OFF_MASK) {
		(void)strcat(str, "wakeup from power-off | ");
	}
	if (reason & NRFX_RESET_REASON_DIF_MASK) {
		(void)strcat(str, "debug interface wakeup | ");
	}
	if (reason & NRFX_RESET_REASON_SREQ_MASK) {
		(void)strcat(str, "software | ");
	}
	if (reason & NRFX_RESET_REASON_LOCKUP_MASK) {
		(void)strcat(str, "CPU lockup | ");
	}
	if (reason & NRFX_RESET_REASON_CTRLAP_MASK) {
		(void)strcat(str, "control access port | ");
	}

	len = strlen(str);
	if (len == 0) {
		(void)strcpy(str, "power-on reset");
	} else {
		str[len - 3] = '\0';
	}
}

static void desh_print_reset_reason(void)
{
	uint32_t reset_reason;
	char reset_reason_str[128];

	/* Read RESETREAS register value and clear current reset reason(s). */
	reset_reason = nrfx_reset_reason_get();
	nrfx_reset_reason_clear(reset_reason);

	reset_reason_str_get(reset_reason_str, reset_reason);

	printk("\nReset reason: %s\n", reset_reason_str);
}

#if defined(CONFIG_DK_LIBRARY)
static void button_handler(uint32_t button_states, uint32_t has_changed)
{
	if (has_changed & button_states & DK_BTN1_MSK) {
		desh_print("Button 1 pressed - raising a kill signal");
		k_poll_signal_raise(&desh_signal, DESH_SIGNAL_KILL);
	} else if (has_changed & ~button_states & DK_BTN1_MSK) {
		desh_print("Button 1 released - resetting a kill signal");
		k_poll_signal_reset(&desh_signal);
	}
}
#endif

/***** START OF INTERNAL CHANGE. DO NOT COMMIT TO NCS MASTER. *****/
#if defined(CONFIG_DESH_FIDO_TRACE) && !defined(CONFIG_BOARD_THINGY91_NRF9160_NS)
#include <zephyr/init.h>
#include <nrf.h>
#include <hal/nrf_gpio.h>

static int modem_trace_enable(void)
{
	/* GPIO configurations for trace and debug */
	#define CS_PIN_CFG_TRACE_CLK	21 //GPIO_OUT_PIN21_Pos
	#define CS_PIN_CFG_TRACE_DATA0	22 //GPIO_OUT_PIN22_Pos
	#define CS_PIN_CFG_TRACE_DATA1	23 //GPIO_OUT_PIN23_Pos
	#define CS_PIN_CFG_TRACE_DATA2	24 //GPIO_OUT_PIN24_Pos
	#define CS_PIN_CFG_TRACE_DATA3	25 //GPIO_OUT_PIN25_Pos

	// Configure outputs.
	// CS_PIN_CFG_TRACE_CLK
	NRF_P0_NS->PIN_CNF[CS_PIN_CFG_TRACE_CLK] = (GPIO_PIN_CNF_DRIVE_H0H1 << GPIO_PIN_CNF_DRIVE_Pos) |
		(GPIO_PIN_CNF_INPUT_Disconnect << GPIO_PIN_CNF_INPUT_Pos);

	// CS_PIN_CFG_TRACE_DATA0
	NRF_P0_NS->PIN_CNF[CS_PIN_CFG_TRACE_DATA0] = (GPIO_PIN_CNF_DRIVE_H0H1 << GPIO_PIN_CNF_DRIVE_Pos) |
		(GPIO_PIN_CNF_INPUT_Disconnect << GPIO_PIN_CNF_INPUT_Pos);

	// CS_PIN_CFG_TRACE_DATA1
	NRF_P0_NS->PIN_CNF[CS_PIN_CFG_TRACE_DATA1] = (GPIO_PIN_CNF_DRIVE_H0H1 << GPIO_PIN_CNF_DRIVE_Pos) |
		(GPIO_PIN_CNF_INPUT_Disconnect << GPIO_PIN_CNF_INPUT_Pos);

	// CS_PIN_CFG_TRACE_DATA2
	NRF_P0_NS->PIN_CNF[CS_PIN_CFG_TRACE_DATA2] = (GPIO_PIN_CNF_DRIVE_H0H1 << GPIO_PIN_CNF_DRIVE_Pos) |
		(GPIO_PIN_CNF_INPUT_Disconnect << GPIO_PIN_CNF_INPUT_Pos);

	// CS_PIN_CFG_TRACE_DATA3
	NRF_P0_NS->PIN_CNF[CS_PIN_CFG_TRACE_DATA3] = (GPIO_PIN_CNF_DRIVE_H0H1 << GPIO_PIN_CNF_DRIVE_Pos) |
		(GPIO_PIN_CNF_INPUT_Disconnect << GPIO_PIN_CNF_INPUT_Pos);

	NRF_P0_NS->DIR = 0xFFFFFFFF;
#if RM_JH /* alternative way */
	*(uint32_t *)0x40842754 = 0x302;
	*(uint32_t *)0x40842758 = 0x302;
	*(uint32_t *)0x4084275c = 0x302;
	*(uint32_t *)0x40842760 = 0x302;
	*(uint32_t *)0x40842764 = 0x302;
#endif
	return 0;
}

SYS_INIT(modem_trace_enable, PRE_KERNEL_1, 0);
#endif
/***** END OF INTERNAL CHANGE *****/

int main(void)
{
	int err;
	struct k_work_queue_config cfg = {
		.name = "desh_common_workq",
	};

	desh_shell = shell_backend_uart_get_ptr();

	__ASSERT(desh_shell != NULL, "Failed to get shell backend");

	/* Reset reason can only be read once, because the register needs to be cleared after
	 * reading.
	 */
	desh_print_reset_reason();

	k_work_queue_start(&desh_common_work_q, desh_common_workq_stack,
			   K_THREAD_STACK_SIZEOF(desh_common_workq_stack),
			   DESH_COMMON_WORKQ_PRIORITY, &cfg);

	err = nrf_modem_lib_init();
	if (err) {
		/* Modem library initialization failed. */
		printk("Could not initialize nrf_modem_lib, err %d\n", err);
		printk("Fatal error\n");
		return 0;
	}

#if defined(CONFIG_DK_LIBRARY)
	err = dk_buttons_init(button_handler);
	if (err) {
		printk("Failed to initialize DK buttons library, error: %d\n", err);
	}
	err = dk_leds_init();
	if (err) {
		printk("Cannot initialize LEDs (err: %d)\n", err);
	}
#endif
	k_poll_signal_init(&desh_signal);

	/* Resize terminal width and height of the shell to have proper command editing. */
	shell_execute_cmd(desh_shell, "resize");

#if defined(CONFIG_DESH_AT_CMD_MODE)
	at_cmd_mode_sett_init();
	if (at_cmd_mode_sett_is_autostart_enabled()) {
		/* Start directly in AT cmd mode */
		at_cmd_mode_start(desh_shell);
	}
#endif

	return 0;
}
```

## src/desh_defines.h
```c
/*
 * Copyright (c) 2024 Nordic Semiconductor ASA
 *
 * SPDX-License-Identifier: LicenseRef-Nordic-5-Clause
 */

#ifndef DESH_DEFINES_H
#define DESH_DEFINES_H

#define DESH_EMPTY_STRING "\0"

#define DESH_STRING_NULL_CHECK(string) \
	((string != NULL) ? string : DESH_EMPTY_STRING)

#define DESH_AT_CMD_RESPONSE_MAX_LEN 2701

enum desh_signals {
	DESH_SIGNAL_KILL,
};
#endif /* DESH_DEFINES_H */
```

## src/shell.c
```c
/*
 * Copyright (c) 2025 Nordic Semiconductor ASA
 *
 * SPDX-License-Identifier: LicenseRef-Nordic-5-Clause
 */

#include <stdlib.h>
#include <malloc.h>

#include <zephyr/kernel.h>
#include <zephyr/device.h>
#include <zephyr/sys/sys_heap.h>
#include <zephyr/linker/linker-defs.h>
#include <zephyr/shell/shell.h>
#include <modem/nrf_modem_lib.h>

#include "desh_print.h"

#if defined(CONFIG_DESH_IPERF3)
#include <zephyr/posix/sys/select.h>
#include <iperf_api.h>
#endif

extern struct k_poll_signal desh_signal;

int sleep_shell(const struct shell *shell, size_t argc, char **argv)
{
	long sleep_duration = strtol(argv[1], NULL, 10);

	if (sleep_duration > 0) {
		k_sleep(K_SECONDS(sleep_duration));
		return 0;
	}
	desh_print("sleep: duration must be greater than zero");

	return -EINVAL;
}

#if defined(CONFIG_SYS_HEAP_RUNTIME_STATS)
extern struct sys_heap _system_heap;
#endif

int heap_shell(const struct shell *shell, size_t argc, char **argv)
{
	struct mallinfo system_stats;

#if defined(CONFIG_SYS_HEAP_RUNTIME_STATS)
	int err;
	struct sys_memory_stats kernel_stats;

	err = sys_heap_runtime_stats_get(&_system_heap, &kernel_stats);
	if (err) {
		desh_error("heap: failed to read kernel heap statistics, error: %d", err);
	} else {
		desh_print("kernel heap statistics:");
		desh_print("free:           %6d", kernel_stats.free_bytes);
		desh_print("allocated:      %6d", kernel_stats.allocated_bytes);
		desh_print("max. allocated: %6d\n", kernel_stats.max_allocated_bytes);
	}
#endif /* CONFIG_SYS_HEAP_RUNTIME_STATS */

	/* Calculate the system heap maximum size. */
#define USED_RAM_END_ADDR POINTER_TO_UINT(&_end)
#define HEAP_BASE	  USED_RAM_END_ADDR
#define MAX_HEAP_SIZE	  (KB(CONFIG_SRAM_SIZE) - (HEAP_BASE - CONFIG_SRAM_BASE_ADDRESS))

	system_stats = mallinfo();

	desh_print("system heap statistics:");
	desh_print("max. size:      %6d", MAX_HEAP_SIZE);
	desh_print("size:           %6d", system_stats.arena);
	desh_print("free:           %6d", system_stats.fordblks);
	desh_print("allocated:      %6d", system_stats.uordblks);

	return 0;
}

int version_shell(const struct shell *shell, size_t argc, char **argv)
{
	desh_print_version_info();

	return 0;
}

#if defined(CONFIG_DESH_IPERF3)
static int cmd_iperf3(const struct shell *shell, size_t argc, char **argv)
{
	(void)iperf_main(argc, argv, NULL, 0, &desh_signal);
	return 0;
}
#endif
SHELL_CMD_ARG_REGISTER(sleep, NULL, "Sleep for n seconds.", sleep_shell, 2, 0);

SHELL_CMD_ARG_REGISTER(heap, NULL, "Print heap usage statistics.", heap_shell, 1, 0);

SHELL_CMD_ARG_REGISTER(version, NULL, "Print application version information.", version_shell, 1,
		       0);

#if defined(CONFIG_DESH_IPERF3)
SHELL_CMD_REGISTER(iperf3, NULL, "For iperf3 usage, just type \"iperf3 --manual\"", cmd_iperf3);
#endif
```
